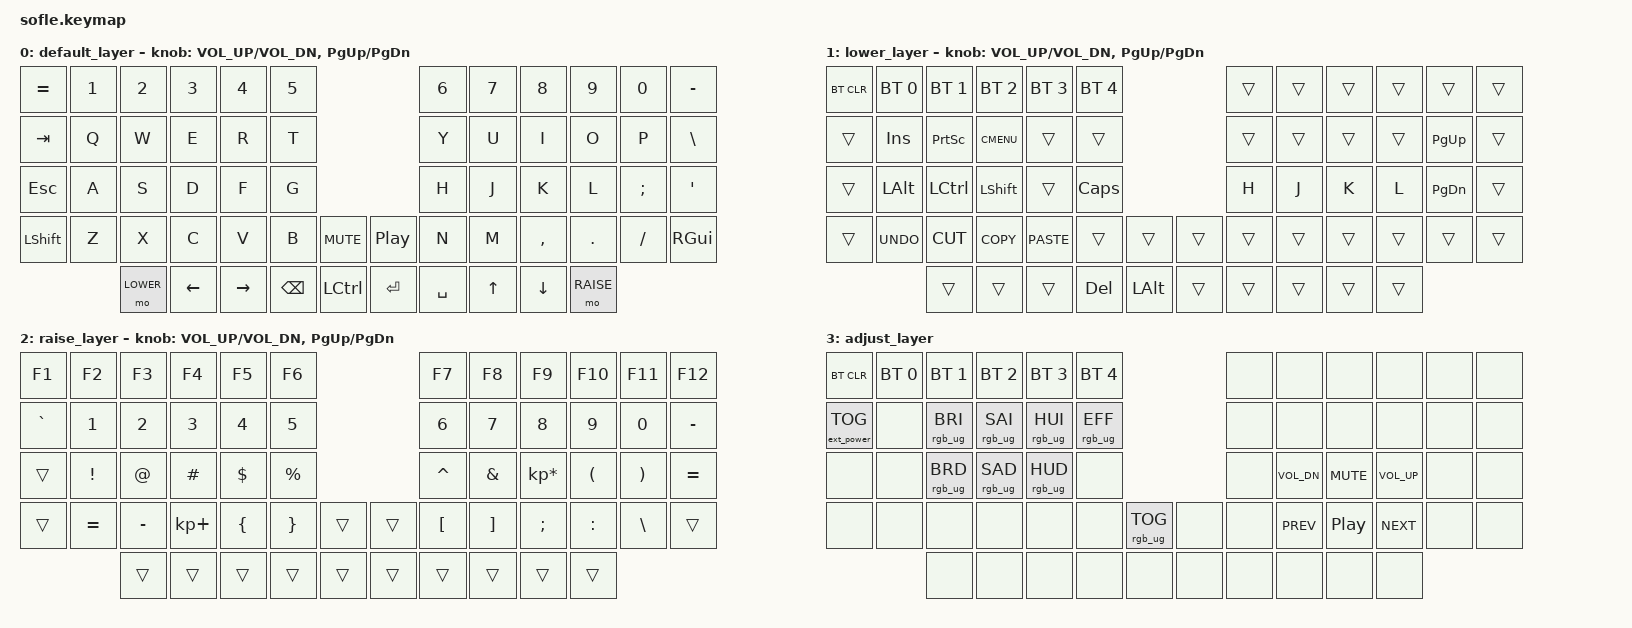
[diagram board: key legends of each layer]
/*
 * Copyright (c) 2020 The ZMK Contributors
 *
 **

 * SPDX-License-Identifier: MIT
 */

#include <behaviors.dtsi>

#include <dt-bindings/zmk/bt.h>
#include <dt-bindings/zmk/ext_power.h>
#include <dt-bindings/zmk/keys.h>
#include <dt-bindings/zmk/rgb.h>

#define DEFAULT 0
#define LOWER   1
#define RAISE   2
#define ADJUST  3

/ {
    conditional_layers {
        compatible = "zmk,conditional-layers";
        adjust_layer {
            if-layers = <LOWER RAISE>;
            then-layer = <ADJUST>;
        };
    };

    keymap {
        compatible = "zmk,keymap";

        default_layer {
// ---------------------------------------------------------------------------------------------------------------------
// |   =   |   1   |   2   |   3   |   4   |   5   |                   |   6   |   7   |   8   |   9   |   0   |   -   |
// |  TAB  |   Q   |   W   |   E   |   R   |   T   |                   |   Y   |   U   |   I   |   O   |   P   |   \   |
// |  ESC  |   A   |   S   |   D   |   F   |   G   |                   |   H   |   J   |   K   |   L   |   ;   |   '   |
// | SHIFT |   Z   |   X   |   C   |   V   |   B   | MUTE  |   | PLAY  |   N   |   M   |   ,   |   .   |   /   |  GUI  |
//                 | LOWER | LEFT  | RIGHT | BSPC  | LCTRL |   | SPACE | RAISE |  UP   | DOWN  | RAISE |
            bindings = <
&kp EQUAL &kp N1 &kp N2    &kp N3   &kp N4    &kp N5                         &kp N6    &kp N7 &kp N8    &kp N9    &kp N0   &kp MINUS
&kp TAB   &kp Q  &kp W     &kp E    &kp R     &kp T                          &kp Y     &kp U  &kp I     &kp O     &kp P    &kp BSLH
&kp ESC   &kp A  &kp S     &kp D    &kp F     &kp G                          &kp H     &kp J  &kp K     &kp L     &kp SEMI &kp SQT
&kp LSHFT &kp Z  &kp X     &kp C    &kp V     &kp B    &kp C_MUTE   &kp C_PP &kp N     &kp M  &kp COMMA &kp DOT   &kp FSLH &kp RGUI
                 &mo LOWER &kp LEFT &kp RIGHT &kp BSPC &kp LCTRL    &kp RET  &kp SPACE &kp UP &kp DOWN  &mo RAISE
            >;

            sensor-bindings = <&inc_dec_kp C_VOL_UP C_VOL_DN &inc_dec_kp PG_UP PG_DN>;
        };

        lower_layer {
// ---------------------------------------------------------------------------------------------------------------------
// | BTCLR |  BT1  |  BT2  |  BT3  |  BT4  |  BT5  |                   |       |       |       |       |       |       |
// |       |  INS  | PSCR  |  GUI  |       |       |                   |       |       |       |       | PGUP  |       |
// |       |  ALT  | CTRL  | SHIFT |       | CAPS  |                   |   H   |   J   |   K   |   L   | PGDN  |       |
// |       | UNDO  |  CUT  | COPY  | PASTE |       |       |   |       |       |       |       |       |       |       |
//                         |       |       |  DEL  | LALT  |   |       |       |       |       |       |       |
            bindings = <
&bt BT_CLR &bt BT_SEL 0 &bt BT_SEL 1 &bt BT_SEL 2 &bt BT_SEL 3 &bt BT_SEL 4                   &trans &trans &trans &trans &trans    &trans
&trans     &kp INS      &kp PSCRN    &kp K_CMENU  &trans       &trans                         &trans &trans &trans &trans &kp PG_UP &trans
&trans     &kp LALT     &kp LCTRL    &kp LSHFT    &trans       &kp CLCK                       &kp H  &kp J  &kp K  &kp L  &kp PG_DN &trans
&trans     &kp K_UNDO   &kp K_CUT    &kp K_COPY   &kp K_PASTE  &trans       &trans     &trans &trans &trans &trans &trans &trans    &trans
                        &trans       &trans       &trans       &kp DEL      &kp LALT   &trans &trans &trans &trans &trans
            >;

            sensor-bindings = <&inc_dec_kp C_VOL_UP C_VOL_DN &inc_dec_kp PG_UP PG_DN>;
        };

        raise_layer {
// ---------------------------------------------------------------------------------------------------------------------
// |  F1   |  F2   |  F3   |  F4   |  F5   |  F6   |                   |  F7   |  F8   |  F9   |  F10  |  F11  |  F12  |
// |  `    |   1   |   2   |   3   |   4   |   5   |                   |   6   |   7   |   8   |   9   |   0   |   -   |
// |       |   !   |   @   |   #   |   $   |   %   |                   |   ^   |   &   |   *   |   (   |   )   |   =   |
// |       |   =   |   -   |   +   |   {   |   }   |       |   |       |   [   |   ]   |   ;   |   :   |   \   |       |
//                 |       |       |       |       |       |   |       |       |       |       |       |
            bindings = <
&kp F1    &kp F2    &kp F3    &kp F4      &kp F5    &kp F6                    &kp F7    &kp F8    &kp F9          &kp F10   &kp F11   &kp F12
&kp GRAVE &kp N1    &kp N2    &kp N3      &kp N4    &kp N5                    &kp N6    &kp N7    &kp N8          &kp N9    &kp N0    &kp MINUS
&trans    &kp EXCL  &kp AT    &kp HASH    &kp DLLR  &kp PRCNT                 &kp CARET &kp AMPS  &kp KP_MULTIPLY &kp LPAR  &kp RPAR  &kp EQUAL
&trans    &kp EQUAL &kp MINUS &kp KP_PLUS &kp LBRC  &kp RBRC  &trans   &trans &kp LBKT  &kp RBKT  &kp SEMI        &kp COLON &kp BSLH  &trans
                    &trans    &trans      &trans    &trans    &trans   &trans &trans    &trans    &trans          &trans
            >;

            sensor-bindings = <&inc_dec_kp C_VOL_UP C_VOL_DN &inc_dec_kp PG_UP PG_DN>;
        };

        adjust_layer {
// ---------------------------------------------------------------------------------------------------------------------
// |BTCLR  |  BT1  |  BT2  |  BT3  |  BT4  |  BT5  |                   |       |       |       |       |       |       |
// |EXTPWR |       |RGB_BRI|RGB_SAI|RGB_HUI|RGB_EFF|                   |       |       |       |       |       |       |
// |       |       |RGB_BRD|RGB_SAD|RGB_HUD|       |                   |       | VOL-  | MUTE  | VOL+  |       |       |
// |       |       |       |       |       |       |RGB_TOG|   |       |       | PREV  | PLAY  | NEXT  |       |       |
//                 |       |       |       |       |       |   |       |       |       |       |       |
            bindings = <
&bt BT_CLR        &bt BT_SEL 0 &bt BT_SEL 1    &bt BT_SEL 2    &bt BT_SEL 3    &bt BT_SEL 4                            &none &none        &none      &none        &none &none
&ext_power EP_TOG &none        &rgb_ug RGB_BRI &rgb_ug RGB_SAI &rgb_ug RGB_HUI &rgb_ug RGB_EFF                         &none &none        &none      &none        &none &none
&none             &none        &rgb_ug RGB_BRD &rgb_ug RGB_SAD &rgb_ug RGB_HUD &none                                   &none &kp C_VOL_DN &kp C_MUTE &kp C_VOL_UP &none &none
&none             &none        &none           &none           &none           &none           &rgb_ug RGB_TOG   &none &none &kp C_PREV   &kp C_PP   &kp C_NEXT   &none &none
                               &none           &none           &none           &none           &none             &none &none &none        &none      &none
            >;
        };
    };
};
